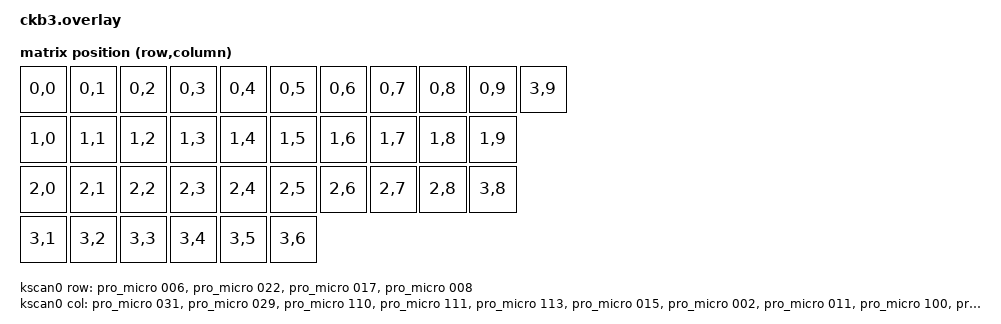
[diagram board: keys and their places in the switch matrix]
/*
 * Copyright (c) 2020 The ZMK Contributors
 *
 * SPDX-License-Identifier: MIT
 */

#include <dt-bindings/zmk/matrix_transform.h>

/ {
    chosen {
        zmk,kscan = &kscan0;
        zmk,matrix-transform = &default_transform;
    };

    default_transform: keymap_transform_0 {
        compatible = "zmk,matrix-transform";
        columns = <10>;
        rows = <4>;
        map = <
    RC(0,0) RC(0,1) RC(0,2) RC(0,3) RC(0,4) RC(0,5) RC(0,6) RC(0,7) RC(0,8) RC(0,9) RC(3,9)
    RC(1,0) RC(1,1) RC(1,2) RC(1,3) RC(1,4) RC(1,5) RC(1,6) RC(1,7) RC(1,8) RC(1,9)
    RC(2,0) RC(2,1) RC(2,2) RC(2,3) RC(2,4) RC(2,5) RC(2,6) RC(2,7) RC(2,8) RC(3,8)
    RC(3,1) RC(3,2) RC(3,3) RC(3,4) RC(3,5) RC(3,6) 
        >;
    };


    kscan0: kscan_0 {
        compatible = "zmk,kscan-gpio-matrix";
        wakeup-source;
        diode-direction = "col2row";

        col-gpios
            = <&pro_micro 031 GPIO_ACTIVE_HIGH>
            , <&pro_micro 029 GPIO_ACTIVE_HIGH>
            , <&pro_micro 110 GPIO_ACTIVE_HIGH>
            , <&pro_micro 111 GPIO_ACTIVE_HIGH> 
            , <&pro_micro 113 GPIO_ACTIVE_HIGH>
            , <&pro_micro 015 GPIO_ACTIVE_HIGH>
            , <&pro_micro 002 GPIO_ACTIVE_HIGH>
            , <&pro_micro 011 GPIO_ACTIVE_HIGH>
            , <&pro_micro 100 GPIO_ACTIVE_HIGH>
            , <&pro_micro 024 GPIO_ACTIVE_HIGH>
           ;

        row-gpios
            = <&pro_micro 006 (GPIO_ACTIVE_HIGH | GPIO_PULL_DOWN)>
            , <&pro_micro 022 (GPIO_ACTIVE_HIGH | GPIO_PULL_DOWN)>
            , <&pro_micro 017 (GPIO_ACTIVE_HIGH | GPIO_PULL_DOWN)>
            , <&pro_micro 008 (GPIO_ACTIVE_HIGH | GPIO_PULL_DOWN)>
            ;
    };

};
